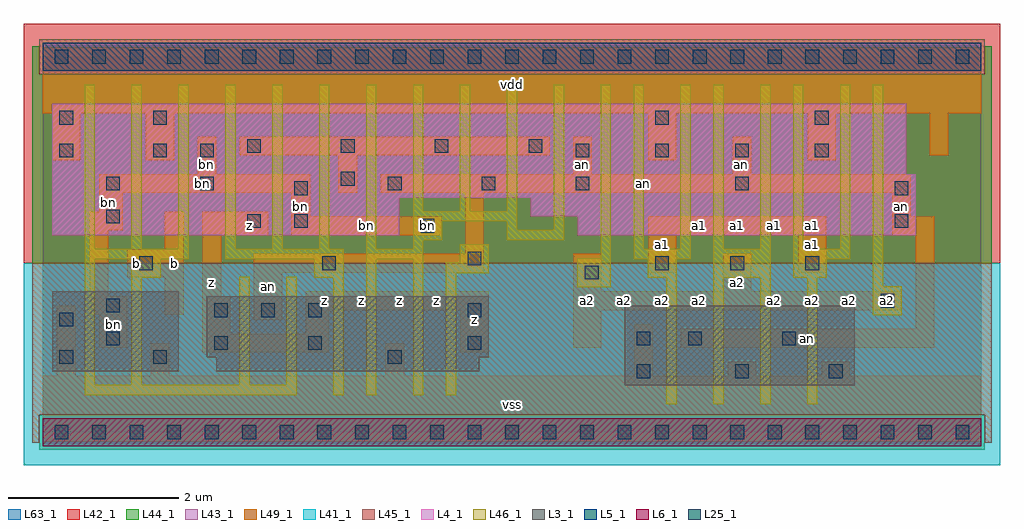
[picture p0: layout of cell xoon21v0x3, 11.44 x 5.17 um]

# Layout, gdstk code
import gdstk
lib = gdstk.Library(unit=1e-6, precision=1e-09)
def R(c, l, rs):  # rectangles x0, y0, x1, y1
    for r in rs: c.add(gdstk.rectangle(r[:2], r[2:], *l))
def A(c, l, x, y, w, h, nx, ny, dx, dy):  # array of equal rectangles
    R(c, l, [(x+i*dx, y+j*dy, x+i*dx+w, y+j*dy+h) for i in range(nx) for j in range(ny)])
L3_1 = (3, 1)
L4_1 = (4, 1)
L5_1 = (5, 1)
L6_1 = (6, 1)
L25_1 = (25, 1)
L41_1 = (41, 1)
L42_1 = (42, 1)
L43_1 = (43, 1)
L44_1 = (44, 1)
L45_1 = (45, 1)
L46_1 = (46, 1)
L49_1 = (49, 1)
L63_1 = (63, 1)

xoon21v0x3 = lib.new_cell('xoon21v0x3')
R(xoon21v0x3, L3_1, [(6.82,0.55,9.515,1.485), (0.11,0.715,1.595,1.65), (2.035,0.715,5.115,0.88), (1.925,0.88,5.225,1.595)])
R(xoon21v0x3, L4_1, [(0.11,2.31,4.18,2.75), (6.27,2.31,10.23,2.53), (5.72,2.53,10.23,2.75), (0.11,2.75,10.23,3.025), (0.11,3.025,10.12,3.85)])
R(xoon21v0x3, L5_1, [(0,4.235,11,4.565)])
R(xoon21v0x3, L6_1, [(0,-0.165,11,0.165)])
A(xoon21v0x3, L25_1, 0.14, -0.08, 0.16, 0.16, 25, 2, 0.44, 4.4)
A(xoon21v0x3, L25_1, 2.01, 1.35, 0.16, 0.16, 3, 1, 0.55, 0)
A(xoon21v0x3, L25_1, 7.18, 1.9, 0.16, 0.16, 3, 1, 0.88, 0)
A(xoon21v0x3, L25_1, 4.045, 2.835, 0.16, 0.16, 3, 1, 1.1, 0)
A(xoon21v0x3, L25_1, 6.245, 3.22, 0.16, 0.16, 4, 1, 0.935, 0)
A(xoon21v0x3, L25_1, 2.395, 3.275, 0.16, 0.16, 4, 1, 1.1, 0)
R(xoon21v0x3, L25_1, [(6.96,0.635,7.12,0.795), (8.115,0.635,8.275,0.795), (9.215,0.635,9.375,0.795), (0.195,0.8,0.355,0.96), (1.295,0.8,1.455,0.96), (4.045,0.8,4.205,0.96), (2.01,0.965,2.17,1.125), (3.11,0.965,3.27,1.125), (4.98,0.965,5.14,1.125), (0.745,1.02,0.905,1.18), (6.96,1.02,7.12,1.18), (7.565,1.02,7.725,1.18), (8.665,1.02,8.825,1.18), (0.195,1.24,0.355,1.4), (4.98,1.35,5.14,1.51), (0.745,1.405,0.905,1.565), (9.82,1.46,9.98,1.62), (6.355,1.79,6.515,1.95), (1.13,1.9,1.29,2.06), (3.275,1.9,3.435,2.06), (4.98,1.955,5.14,2.115), (4.43,2.34,4.59,2.5), (2.395,2.395,2.555,2.555), (2.945,2.395,3.105,2.555), (9.985,2.395,10.145,2.555), (0.745,2.45,0.905,2.61), (2.945,2.78,3.105,2.94), (9.985,2.78,10.145,2.94), (0.745,2.835,0.905,2.995), (1.845,2.835,2.005,2.995), (8.115,2.835,8.275,2.995), (3.495,2.89,3.655,3.05), (0.195,3.22,0.355,3.38), (1.295,3.22,1.455,3.38), (1.845,3.22,2.005,3.38), (0.195,3.605,0.355,3.765), (1.295,3.605,1.455,3.765), (7.18,3.605,7.34,3.765), (9.05,3.605,9.21,3.765)])
R(xoon21v0x3, L41_1, [(-0.22,-0.385,11.22,1.98)])
R(xoon21v0x3, L42_1, [(-0.22,1.98,11.22,4.785)])
R(xoon21v0x3, L43_1, [(0,-0.165,11,0.165), (6.82,0.55,9.515,1.485), (0.11,0.715,1.595,1.65), (2.035,0.715,5.115,0.88), (1.925,0.88,5.225,1.595), (0.11,2.31,4.18,2.75), (6.27,2.31,10.23,2.53), (5.72,2.53,10.23,2.75), (0.11,2.75,10.23,3.025), (0.11,3.025,10.12,3.85), (0,4.235,11,4.565)])
R(xoon21v0x3, L44_1, [(-0.04,-0.205,11.04,0.205), (-0.125,1.98,11.125,4.195), (-0.125,4.195,-0.04,4.525), (11.04,4.195,11.125,4.525)])
R(xoon21v0x3, L45_1, [(-0.125,-0.125,-0.04,0.205), (11.04,-0.125,11.125,0.205), (-0.125,0.205,11.125,1.98), (-0.04,4.195,11.04,4.605)])
A(xoon21v0x3, L46_1, 7.31, 0.325, 0.12, 1.485, 4, 1, 0.55, 0)
A(xoon21v0x3, L46_1, 0.49, 2.15, 0.12, 1.925, 7, 1, 0.55, 0)
A(xoon21v0x3, L46_1, 4.34, 2.59, 0.12, 1.485, 3, 1, 0.55, 0)
R(xoon21v0x3, L46_1, [(0.49,0.435,2.975,0.555), (3.405,0.435,3.525,1.81), (3.79,0.435,3.91,2.03), (4.34,0.435,4.46,2.03), (4.725,0.435,4.845,1.865), (0.49,0.555,0.61,2.03), (1.04,0.555,1.16,1.81), (2.305,0.555,2.425,1.82), (2.855,0.555,2.975,1.82), (9.73,1.37,10.07,1.71), (6.265,1.7,6.66,2.04), (9.73,1.71,9.85,4.075), (1.04,1.81,1.38,2.03), (3.185,1.81,3.525,2.03), (7.09,1.81,7.43,2.03), (7.86,1.81,8.53,2.15), (8.795,1.81,9.19,2.03), (4.725,1.865,5.23,1.985), (4.89,1.985,5.23,2.205), (0.49,2.03,1.71,2.15), (2.14,2.03,3.525,2.15), (3.79,2.03,4.46,2.15), (6.925,2.03,7.595,2.15), (8.795,2.03,9.465,2.15), (6.54,2.04,6.66,4.075), (4.34,2.15,4.46,2.25), (6.925,2.15,7.045,4.075), (7.475,2.15,7.595,4.075), (7.86,2.15,7.98,4.075), (8.41,2.15,8.53,4.075), (8.795,2.15,8.915,4.075), (9.345,2.15,9.465,4.075), (4.34,2.25,4.68,2.47), (5.44,2.25,6.11,2.37), (5.44,2.37,5.56,2.47), (5.99,2.37,6.11,4.075), (4.34,2.47,5.56,2.59)])
R(xoon21v0x3, L49_1, [(0,-0.11,11,0.66), (0.165,0.66,0.385,1.485), (1.265,0.66,1.485,1.045), (4.015,0.66,4.235,1.045), (6.93,0.66,7.15,1.265), (8.03,0.66,8.36,0.825), (9.13,0.66,9.46,0.825), (1.87,0.935,3.355,1.155), (4.895,0.935,5.225,1.43), (0.66,0.99,0.99,1.375), (6.215,0.99,6.545,1.43), (7.48,0.99,10.45,1.21), (1.87,1.155,2.2,1.595), (3.08,1.155,3.355,1.43), (10.23,1.21,10.45,2.31), (2.475,1.32,2.805,1.87), (0.55,1.375,0.99,1.595), (1.43,1.375,1.65,1.815), (3.08,1.43,5.225,1.65), (6.215,1.43,10.065,1.65), (0.55,1.595,0.77,2.365), (1.87,1.595,2.09,2.31), (6.215,1.65,6.545,2.09), (7.975,1.65,8.305,2.09), (0.99,1.815,1.65,2.145), (2.475,1.87,5.17,2.09), (7.095,1.87,7.425,2.31), (8.855,1.87,9.185,2.31), (4.95,2.09,5.17,2.805), (1.43,2.145,1.65,2.585), (1.87,2.31,2.64,2.585), (2.915,2.31,4.675,2.53), (7.095,2.31,9.185,2.53), (9.955,2.31,10.45,2.53), (0.55,2.365,0.935,2.585), (2.915,2.53,3.135,2.805), (9.955,2.53,10.175,2.805), (0.66,2.585,0.935,2.805), (0.66,2.805,3.135,3.025), (3.465,2.805,3.685,3.245), (3.96,2.805,10.175,3.025), (1.815,3.025,2.035,3.465), (6.215,3.025,6.435,3.465), (8.085,3.025,8.305,3.465), (0.11,3.19,0.44,3.74), (1.21,3.19,1.54,3.74), (7.095,3.19,7.425,3.74), (8.965,3.19,9.295,3.74), (2.31,3.245,5.94,3.465), (10.395,3.245,10.615,3.74), (0,3.74,11,4.51)])
R(xoon21v0x3, L63_1, [(0,0,11,4.4)])
xoon21v0x3.add(gdstk.Label('bn', (4.51,2.42), layer=49, texttype=1))
xoon21v0x3.add(gdstk.Label('bn', (0.825,1.265), layer=49, texttype=1))
xoon21v0x3.add(gdstk.Label('b', (1.1,1.98), layer=49, texttype=1))
xoon21v0x3.add(gdstk.Label('b', (1.54,1.98), layer=49, texttype=1))
xoon21v0x3.add(gdstk.Label('bn', (0.77,2.695), layer=49, texttype=1))
xoon21v0x3.add(gdstk.Label('z', (3.3,1.54), layer=49, texttype=1))
xoon21v0x3.add(gdstk.Label('an', (2.64,1.705), layer=49, texttype=1))
xoon21v0x3.add(gdstk.Label('z', (1.98,1.76), layer=49, texttype=1))
xoon21v0x3.add(gdstk.Label('z', (2.42,2.42), layer=49, texttype=1))
xoon21v0x3.add(gdstk.Label('bn', (1.87,2.915), layer=49, texttype=1))
xoon21v0x3.add(gdstk.Label('bn', (1.925,3.135), layer=49, texttype=1))
xoon21v0x3.add(gdstk.Label('bn', (3.025,2.64), layer=49, texttype=1))
xoon21v0x3.add(gdstk.Label('z', (4.18,1.54), layer=49, texttype=1))
xoon21v0x3.add(gdstk.Label('z', (5.06,1.32), layer=49, texttype=1))
xoon21v0x3.add(gdstk.Label('z', (4.62,1.54), layer=49, texttype=1))
xoon21v0x3.add(gdstk.Label('z', (3.74,1.54), layer=49, texttype=1))
xoon21v0x3.add(gdstk.Label('bn', (3.795,2.42), layer=49, texttype=1))
xoon21v0x3.add(gdstk.Label('vss', (5.5,0.33), layer=49, texttype=1))
xoon21v0x3.add(gdstk.Label('a2', (6.38,1.54), layer=49, texttype=1))
xoon21v0x3.add(gdstk.Label('a2', (6.82,1.54), layer=49, texttype=1))
xoon21v0x3.add(gdstk.Label('a2', (7.26,1.54), layer=49, texttype=1))
xoon21v0x3.add(gdstk.Label('a1', (7.26,2.2), layer=49, texttype=1))
xoon21v0x3.add(gdstk.Label('an', (6.325,3.135), layer=49, texttype=1))
xoon21v0x3.add(gdstk.Label('vdd', (5.5,4.07), layer=49, texttype=1))
xoon21v0x3.add(gdstk.Label('a2', (8.58,1.54), layer=49, texttype=1))
xoon21v0x3.add(gdstk.Label('a2', (7.7,1.54), layer=49, texttype=1))
xoon21v0x3.add(gdstk.Label('a2', (9.02,1.54), layer=49, texttype=1))
xoon21v0x3.add(gdstk.Label('a2', (8.14,1.76), layer=49, texttype=1))
xoon21v0x3.add(gdstk.Label('a1', (8.58,2.42), layer=49, texttype=1))
xoon21v0x3.add(gdstk.Label('a1', (8.14,2.42), layer=49, texttype=1))
xoon21v0x3.add(gdstk.Label('a1', (7.7,2.42), layer=49, texttype=1))
xoon21v0x3.add(gdstk.Label('a1', (9.02,2.2), layer=49, texttype=1))
xoon21v0x3.add(gdstk.Label('a1', (9.02,2.42), layer=49, texttype=1))
xoon21v0x3.add(gdstk.Label('an', (8.195,3.135), layer=49, texttype=1))
xoon21v0x3.add(gdstk.Label('an', (8.965,1.1), layer=49, texttype=1))
xoon21v0x3.add(gdstk.Label('a2', (9.9,1.54), layer=49, texttype=1))
xoon21v0x3.add(gdstk.Label('a2', (9.46,1.54), layer=49, texttype=1))
xoon21v0x3.add(gdstk.Label('an', (7.04,2.915), layer=49, texttype=1))
xoon21v0x3.add(gdstk.Label('an', (10.065,2.64), layer=49, texttype=1))

lib.write_gds('xoon21v0x3.gds')
